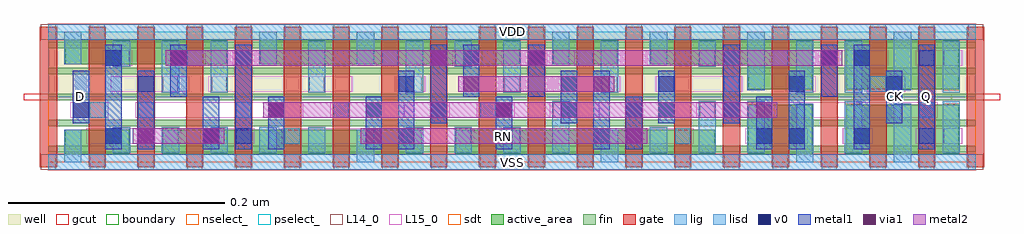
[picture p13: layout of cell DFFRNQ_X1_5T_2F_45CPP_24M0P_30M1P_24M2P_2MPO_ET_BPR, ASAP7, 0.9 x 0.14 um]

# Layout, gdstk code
import gdstk
lib = gdstk.Library(unit=1e-6, precision=2.5e-10)
def R(c, l, rs):  # rectangles x0, y0, x1, y1
    for r in rs: c.add(gdstk.rectangle(r[:2], r[2:], *l))
def A(c, l, x, y, w, h, nx, ny, dx, dy):  # array of equal rectangles
    R(c, l, [(x+i*dx, y+j*dy, x+i*dx+w, y+j*dy+h) for i in range(nx) for j in range(ny)])
well = (1, 0)
fin = (2, 0)
gate = (7, 0)
gcut = (10, 0)
active_area = (11, 0)
nselect_ = (12, 0)
pselect_ = (13, 0)
L14_0 = (14, 0)
L15_0 = (15, 0)
lig = (16, 0)
lisd = (17, 0)
v0 = (18, 0)
metal1 = (19, 0)
metal2 = (20, 0)
via1 = (21, 0)
sdt = (88, 0)
boundary = (100, 0)

dffrnq_x1_5t_2f_45cpp_24 = lib.new_cell('DFFRNQ_X1_5T_2F_45CPP_24M0P_30M1P_24M2P_2MPO_ET_BPR')
R(dffrnq_x1_5t_2f_45cpp_24, well, [(0,0.06,0.855,0.12)])
A(dffrnq_x1_5t_2f_45cpp_24, fin, 0, 0.009, 0.855, 0.006, 1, 5, 0, 0.024)
A(dffrnq_x1_5t_2f_45cpp_24, gate, -0.008, -0.005, 0.016, 0.13, 20, 1, 0.045, 0)
R(dffrnq_x1_5t_2f_45cpp_24, gcut, [(0,-0.0075,0.855,0.0075), (-0.0225,0.057,0.0225,0.063), (0.6975,0.057,0.7425,0.063), (0.8325,0.057,0.8775,0.063), (0,0.1125,0.855,0.1275)])
A(dffrnq_x1_5t_2f_45cpp_24, active_area, 0.1055, 0.007, 0.059, 0.023, 5, 1, 0.045, 0)
A(dffrnq_x1_5t_2f_45cpp_24, active_area, 0.3755, 0.007, 0.059, 0.023, 5, 1, 0.045, 0)
A(dffrnq_x1_5t_2f_45cpp_24, active_area, 0.0155, 0.09, 0.059, 0.023, 3, 1, 0.045, 0)
A(dffrnq_x1_5t_2f_45cpp_24, active_area, 0.1955, 0.09, 0.059, 0.023, 5, 1, 0.045, 0)
R(dffrnq_x1_5t_2f_45cpp_24, active_area, [(0.0155,0.007,0.0745,0.03), (0.6455,0.007,0.7045,0.053), (0.7355,0.007,0.7945,0.053), (0.7805,0.007,0.8395,0.053), (0.6455,0.067,0.7045,0.113), (0.7355,0.067,0.7945,0.113), (0.7805,0.067,0.8395,0.113), (0.4655,0.09,0.5245,0.113), (0.5555,0.09,0.6145,0.113), (0.6005,0.09,0.6595,0.113)])
R(dffrnq_x1_5t_2f_45cpp_24, nselect_, [(0,0,0.855,0.06)])
R(dffrnq_x1_5t_2f_45cpp_24, pselect_, [(0,0.06,0.855,0.12)])
A(dffrnq_x1_5t_2f_45cpp_24, L14_0, -0.007, -0.007, 0.014, 0.014, 20, 2, 0.045, 0.12)
A(dffrnq_x1_5t_2f_45cpp_24, L14_0, 0.0605, 0.017, 0.014, 0.014, 3, 1, 0.045, 0)
A(dffrnq_x1_5t_2f_45cpp_24, L14_0, 0.3305, 0.017, 0.014, 0.014, 3, 1, 0.045, 0)
A(dffrnq_x1_5t_2f_45cpp_24, L14_0, 0.6455, 0.017, 0.014, 0.014, 3, 1, 0.09, 0)
A(dffrnq_x1_5t_2f_45cpp_24, L14_0, 0.083, 0.041, 0.014, 0.014, 4, 1, 0.09, 0)
A(dffrnq_x1_5t_2f_45cpp_24, L14_0, 0.398, 0.041, 0.014, 0.014, 4, 1, 0.0675, 0)
A(dffrnq_x1_5t_2f_45cpp_24, L14_0, 0.1505, 0.065, 0.014, 0.014, 5, 1, 0.09, 0)
A(dffrnq_x1_5t_2f_45cpp_24, L14_0, 0.623, 0.065, 0.014, 0.014, 3, 1, 0.0675, 0)
A(dffrnq_x1_5t_2f_45cpp_24, L14_0, 0.308, 0.089, 0.014, 0.014, 3, 1, 0.0675, 0)
A(dffrnq_x1_5t_2f_45cpp_24, L14_0, 0.6005, 0.089, 0.014, 0.014, 3, 1, 0.0675, 0)
R(dffrnq_x1_5t_2f_45cpp_24, L14_0, [(0.218,0.017,0.232,0.031), (0.578,0.017,0.592,0.031), (0.038,0.041,0.052,0.055), (0.803,0.041,0.817,0.055), (0.1055,0.065,0.1195,0.079), (0.0605,0.089,0.0745,0.103), (0.128,0.089,0.142,0.103), (0.488,0.089,0.502,0.103), (0.8255,0.089,0.8395,0.103)])
R(dffrnq_x1_5t_2f_45cpp_24, L15_0, [(0,-0.007,0.855,0.007), (0.035,0.017,0.1225,0.031), (0.14,0.017,0.19,0.031), (0.215,0.017,0.3925,0.031), (0.41,0.017,0.595,0.031), (0.6425,0.017,0.7,0.031), (0.7325,0.017,0.76,0.031), (0.8,0.017,0.8425,0.031), (0.02,0.041,0.055,0.055), (0.08,0.041,0.235,0.055), (0.26,0.041,0.31,0.055), (0.3275,0.041,0.37,0.055), (0.395,0.041,0.43,0.055), (0.4625,0.041,0.49,0.055), (0.5075,0.041,0.58,0.055), (0.5975,0.041,0.82,0.055), (0.0575,0.065,0.13,0.079), (0.1475,0.065,0.28,0.079), (0.32,0.065,0.3475,0.079), (0.41,0.065,0.5275,0.079), (0.56,0.065,0.64,0.079), (0.68,0.065,0.7075,0.079), (0.755,0.065,0.79,0.079), (0.05,0.089,0.0775,0.103), (0.11,0.089,0.145,0.103), (0.17,0.089,0.34,0.103), (0.3725,0.089,0.4,0.103), (0.4175,0.089,0.46,0.103), (0.485,0.089,0.64,0.103), (0.665,0.089,0.775,0.103), (0.8,0.089,0.8425,0.103), (0,0.113,0.855,0.127)])
A(dffrnq_x1_5t_2f_45cpp_24, lig, 0.083, 0.041, 0.014, 0.014, 4, 1, 0.09, 0)
R(dffrnq_x1_5t_2f_45cpp_24, lig, [(0,-0.007,0.855,0.007), (0.218,0.017,0.232,0.031), (0.578,0.017,0.592,0.031), (0.038,0.041,0.052,0.055), (0.398,0.041,0.412,0.055), (0.533,0.041,0.547,0.055), (0.803,0.041,0.817,0.055), (0.623,0.065,0.637,0.079), (0.758,0.065,0.772,0.079), (0.128,0.089,0.142,0.103), (0.308,0.089,0.322,0.103), (0.443,0.089,0.457,0.103), (0.488,0.089,0.502,0.103), (0.668,0.089,0.682,0.103), (0,0.113,0.855,0.127)])
A(dffrnq_x1_5t_2f_45cpp_24, lisd, 0.0595, 0.008, 0.016, 0.024, 5, 1, 0.045, 0)
A(dffrnq_x1_5t_2f_45cpp_24, lisd, 0.3295, 0.008, 0.016, 0.024, 3, 1, 0.045, 0)
A(dffrnq_x1_5t_2f_45cpp_24, lisd, 0.6445, 0.008, 0.016, 0.048, 3, 1, 0.09, 0)
A(dffrnq_x1_5t_2f_45cpp_24, lisd, 0.1495, 0.064, 0.016, 0.048, 5, 1, 0.09, 0)
R(dffrnq_x1_5t_2f_45cpp_24, lisd, [(0.0145,0,0.0305,0.03), (0.2845,0,0.3005,0.03), (0.5095,0,0.5255,0.03), (0.6895,0,0.7055,0.054), (0.7795,0,0.7955,0.054), (0.4645,0.008,0.4805,0.056), (0.5545,0.008,0.5705,0.032), (0.5995,0.008,0.6155,0.056), (0.1045,0.064,0.1205,0.112), (0.6895,0.064,0.7055,0.112), (0.7345,0.064,0.7505,0.112), (0.8245,0.064,0.8405,0.112), (0.6445,0.066,0.6605,0.12), (0.7795,0.066,0.7955,0.12), (0.0595,0.088,0.0755,0.112), (0.3745,0.088,0.3905,0.112), (0.5995,0.088,0.6155,0.112), (0.0145,0.09,0.0305,0.12), (0.1945,0.09,0.2105,0.12), (0.2845,0.09,0.3005,0.12), (0.4645,0.09,0.4805,0.12), (0.5545,0.09,0.5705,0.12)])
A(dffrnq_x1_5t_2f_45cpp_24, v0, 0.683, 0.017, 0.014, 0.014, 3, 1, 0.06, 0)
A(dffrnq_x1_5t_2f_45cpp_24, v0, 0.293, 0.041, 0.014, 0.014, 5, 1, 0.06, 0)
A(dffrnq_x1_5t_2f_45cpp_24, v0, 0.053, 0.089, 0.014, 0.014, 3, 1, 0.06, 0)
R(dffrnq_x1_5t_2f_45cpp_24, v0, [(0.053,0.017,0.067,0.031), (0.143,0.017,0.157,0.031), (0.173,0.017,0.187,0.031), (0.323,0.017,0.337,0.031), (0.503,0.017,0.517,0.031), (0.653,0.017,0.667,0.031), (0.023,0.041,0.037,0.055), (0.203,0.041,0.217,0.055), (0.563,0.041,0.577,0.055), (0.623,0.041,0.637,0.055), (0.083,0.065,0.097,0.079), (0.323,0.065,0.337,0.079), (0.473,0.065,0.487,0.079), (0.563,0.065,0.577,0.079), (0.683,0.065,0.697,0.079), (0.773,0.065,0.787,0.079), (0.383,0.089,0.397,0.103), (0.443,0.089,0.457,0.103), (0.623,0.089,0.637,0.103), (0.713,0.089,0.727,0.103), (0.743,0.089,0.757,0.103), (0.803,0.089,0.817,0.103)])
A(dffrnq_x1_5t_2f_45cpp_24, metal1, 0.2925, 0.012, 0.015, 0.048, 4, 1, 0.12, 0)
A(dffrnq_x1_5t_2f_45cpp_24, metal1, 0.3225, 0.012, 0.015, 0.072, 3, 1, 0.18, 0)
R(dffrnq_x1_5t_2f_45cpp_24, metal1, [(0.0525,0.012,0.0675,0.108), (0.0825,0.012,0.0975,0.084), (0.1425,0.012,0.1575,0.06), (0.1725,0.012,0.1875,0.108), (0.2025,0.012,0.2175,0.06), (0.7425,0.012,0.7575,0.108), (0.8025,0.012,0.8175,0.108), (0.0225,0.036,0.0375,0.084), (0.3525,0.036,0.3675,0.108), (0.4725,0.036,0.4875,0.084), (0.5625,0.036,0.5775,0.084), (0.6225,0.036,0.6375,0.108), (0.7725,0.036,0.7875,0.084), (0.1125,0.06,0.1275,0.108), (0.3825,0.06,0.3975,0.108), (0.4425,0.06,0.4575,0.108), (0.7125,0.06,0.7275,0.108)])
R(dffrnq_x1_5t_2f_45cpp_24, metal2, [(0.078,0.017,0.162,0.031), (0.288,0.017,0.552,0.031), (0.198,0.041,0.672,0.055), (0.378,0.065,0.522,0.079), (0.108,0.089,0.732,0.103)])
R(dffrnq_x1_5t_2f_45cpp_24, via1, [(0.083,0.017,0.097,0.031), (0.143,0.017,0.157,0.031), (0.293,0.017,0.307,0.031), (0.533,0.017,0.547,0.031), (0.203,0.041,0.217,0.055), (0.413,0.041,0.427,0.055), (0.653,0.041,0.667,0.055), (0.383,0.065,0.397,0.079), (0.503,0.065,0.517,0.079), (0.113,0.089,0.127,0.103), (0.353,0.089,0.367,0.103), (0.443,0.089,0.457,0.103), (0.713,0.089,0.727,0.103)])
A(dffrnq_x1_5t_2f_45cpp_24, sdt, 0.0145, 0.012, 0.016, 0.018, 14, 2, 0.045, 0.078)
A(dffrnq_x1_5t_2f_45cpp_24, sdt, 0.6445, 0.012, 0.016, 0.042, 5, 2, 0.045, 0.054)
R(dffrnq_x1_5t_2f_45cpp_24, boundary, [(0,0,0.855,0.12)])
dffrnq_x1_5t_2f_45cpp_24.add(gdstk.Label('Q', (0.81,0.06), layer=19, texttype=251))
dffrnq_x1_5t_2f_45cpp_24.add(gdstk.Label('RN', (0.42,0.024), layer=20, texttype=251))
dffrnq_x1_5t_2f_45cpp_24.add(gdstk.Label('D', (0.03,0.06), layer=19, texttype=251))
dffrnq_x1_5t_2f_45cpp_24.add(gdstk.Label('CK', (0.78,0.06), layer=19, texttype=251))
dffrnq_x1_5t_2f_45cpp_24.add(gdstk.Label('VDD', (0.4275,0.12), layer=15, texttype=251))
dffrnq_x1_5t_2f_45cpp_24.add(gdstk.Label('VSS', (0.4275,0), layer=15, texttype=251))
dffrnq_x1_5t_2f_45cpp_24.add(gdstk.Label('VDD', (0.4275,0.12), layer=1, texttype=251))
dffrnq_x1_5t_2f_45cpp_24.add(gdstk.Label('VSS', (0.4275,0), layer=3, texttype=251))

lib.write_gds('DFFRNQ_X1_5T_2F_45CPP_24M0P_30M1P_24M2P_2MPO_ET_BPR.gds')
